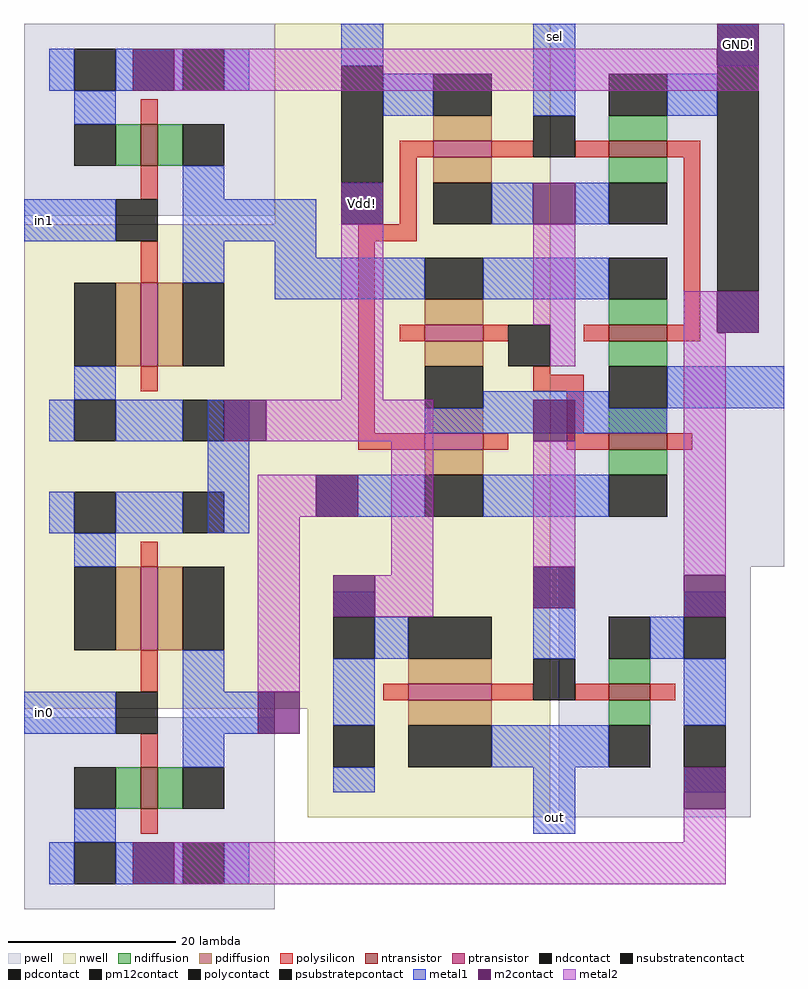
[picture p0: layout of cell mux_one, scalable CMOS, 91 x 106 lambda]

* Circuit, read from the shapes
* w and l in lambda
.subckt mux_one GND! Vdd! in0 in1 out sel
M1 2mux_nr_0/in0 in0 GND! GND! nfet w=5 l=2
M2 2mux_nr_0/in1 in1 GND! GND! nfet w=5 l=2
M3 GND! 2mux_nr_0/out out GND! nfet w=5 l=2
M4 2mux_nr_0/out n1 2mux_nr_0/in0 GND! nfet w=7 l=2
M5 2mux_nr_0/in1 sel 2mux_nr_0/out GND! nfet w=7 l=2
M6 GND! sel n1 GND! nfet w=7 l=2
M7 2mux_nr_0/in0 in0 Vdd! Vdd! pfet w=10 l=2
M8 2mux_nr_0/in1 in1 Vdd! Vdd! pfet w=10 l=2
M9 Vdd! 2mux_nr_0/out out Vdd! pfet w=10 l=2
M10 2mux_nr_0/out sel 2mux_nr_0/in0 Vdd! pfet w=7 l=2
M11 2mux_nr_0/in1 n1 2mux_nr_0/out Vdd! pfet w=7 l=2
M12 Vdd! sel n1 Vdd! pfet w=7 l=2
.ends

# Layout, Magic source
magic
tech scmos
<< nwell >>
rect -22 13 -16 18
rect -25 -9 -18 7
rect -25 -10 -20 -9
<< metal1 >>
rect 7 69 12 72
rect -54 46 -49 51
rect -24 39 -19 51
rect -32 22 -30 27
rect -32 11 -27 22
rect -54 -13 -49 -8
rect 7 -25 12 -21
<< m2contact >>
rect -41 64 -36 69
rect 29 67 34 72
rect -16 48 -11 53
rect 29 35 34 40
rect -30 22 -25 27
rect 7 22 12 27
rect -19 13 -14 18
rect -17 1 -12 6
rect 7 2 12 7
rect 25 1 30 6
rect -26 -13 -21 -8
rect 25 -22 30 -17
rect -41 -31 -36 -26
<< metal2 >>
rect -36 67 29 69
rect -36 64 34 67
rect -16 27 -11 48
rect 25 35 29 40
rect -25 22 -5 27
rect -26 13 -19 18
rect -26 -8 -21 13
rect -10 6 -5 22
rect -12 1 -5 6
rect 7 7 12 22
rect 25 6 30 35
rect 25 -26 30 -22
rect -36 -31 30 -26
use inv2  inv2_0
transform 1 0 -44 0 -1 59
box -10 -13 20 40
use inv2  inv2_1
transform 0 -1 20 -1 0 -3
box -10 -13 20 40
use inv2  inv2_2
transform 1 0 -44 0 1 -21
box -10 -13 20 40
use 2mux_nr  2mux_nr_0
transform 1 0 8 0 1 45
box -32 -38 29 27
<< labels >>
rlabel metal1 7 -25 12 -21 1 out
rlabel metal1 -54 46 -49 51 3 in1
rlabel metal1 -54 -13 -49 -8 3 in0
rlabel m2contact -16 48 -11 53 1 Vdd!
rlabel m2contact 29 67 34 72 5 GND!
rlabel metal1 7 69 12 72 5 sel
<< end >>

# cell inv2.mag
magic
tech scmos
<< nwell >>
rect -10 11 20 40
<< pwell >>
rect -10 -13 20 10
<< ntransistor >>
rect 4 -1 6 4
<< ptransistor >>
rect 4 18 6 28
<< ndiffusion >>
rect 1 -1 4 4
rect 6 -1 9 4
<< pdiffusion >>
rect 1 18 4 28
rect 6 18 9 28
<< ndcontact >>
rect -4 -1 1 4
rect 9 -1 14 4
<< pdcontact >>
rect -4 18 1 28
rect 9 18 14 28
<< psubstratepcontact >>
rect -4 -10 1 -5
rect 9 -10 14 -5
<< nsubstratencontact >>
rect -4 32 1 37
rect 9 32 14 37
<< polysilicon >>
rect 4 28 6 31
rect 4 13 6 18
rect 4 4 6 8
rect 4 -4 6 -1
<< polycontact >>
rect 1 8 6 13
<< metal1 >>
rect -7 32 -4 37
rect 1 32 9 37
rect 14 32 17 37
rect -4 28 1 32
rect 9 13 14 18
rect -10 8 1 13
rect 9 8 20 13
rect 9 4 14 8
rect -4 -5 1 -1
rect -7 -10 -4 -5
rect 1 -10 9 -5
rect 14 -10 17 -5
<< labels >>
rlabel metal1 -5 -7 -5 -7 3 GND!
rlabel metal1 -5 34 -5 34 3 Vdd!
<< end >>

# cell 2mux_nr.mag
magic
tech scmos
<< nwell >>
rect -32 -38 1 27
<< pwell >>
rect 1 -38 29 27
<< ntransistor >>
rect 8 11 15 13
rect 8 -11 15 -9
rect 8 -24 15 -22
<< ptransistor >>
rect -13 11 -6 13
rect -14 -11 -7 -9
rect -14 -24 -7 -22
<< ndiffusion >>
rect 8 13 15 16
rect 8 8 15 11
rect 8 -9 15 -6
rect 8 -14 15 -11
rect 8 -22 15 -19
rect 8 -27 15 -24
<< pdiffusion >>
rect -13 13 -6 16
rect -13 8 -6 11
rect -14 -9 -7 -6
rect -14 -14 -7 -11
rect -14 -22 -7 -19
rect -14 -27 -7 -24
<< ndcontact >>
rect 8 16 15 21
rect 8 3 15 8
rect 8 -6 15 -1
rect 8 -19 15 -14
rect 8 -32 15 -27
<< pdcontact >>
rect -13 16 -6 21
rect -13 3 -6 8
rect -14 -6 -7 -1
rect -14 -19 -7 -14
rect -14 -32 -7 -27
<< psubstratepcontact >>
rect 21 -5 26 22
<< nsubstratencontact >>
rect -24 8 -19 22
<< polysilicon >>
rect -17 11 -13 13
rect -6 11 -1 13
rect 4 11 8 13
rect 15 11 19 13
rect -17 3 -15 11
rect -22 1 -15 3
rect -22 -22 -20 1
rect 17 -9 19 11
rect -17 -11 -14 -9
rect -7 -11 -4 -9
rect 5 -11 8 -9
rect 15 -11 19 -9
rect -1 -15 1 -14
rect -1 -17 5 -15
rect 3 -22 5 -17
rect -22 -24 -14 -22
rect -7 -24 -4 -22
rect 3 -24 8 -22
rect 15 -24 18 -22
<< polycontact >>
rect -1 11 4 16
<< metal1 >>
rect -24 22 -19 27
rect -19 16 -13 21
rect -1 16 4 27
rect 21 22 26 27
rect 15 16 21 21
rect -24 3 -19 8
rect -6 3 -1 8
rect 4 3 8 8
rect -27 -6 -14 -1
rect -7 -6 8 -1
rect 21 -10 26 -5
rect -7 -19 8 -17
rect 15 -19 29 -14
rect -14 -22 15 -19
rect -27 -32 -14 -27
rect -7 -32 8 -27
<< m2contact >>
rect -1 3 4 8
<< pm12contact >>
rect -4 -14 1 -9
<< metal2 >>
rect -1 -9 4 3
rect 1 -14 4 -9
<< labels >>
rlabel metal1 -1 27 4 27 5 s
rlabel metal1 21 27 26 27 5 GND!
rlabel metal1 29 -19 29 -14 7 out
rlabel metal1 -24 27 -19 27 5 Vdd!
rlabel metal1 -27 -6 -27 -1 3 in1
rlabel metal1 -27 -32 -27 -27 3 in0
<< end >>
